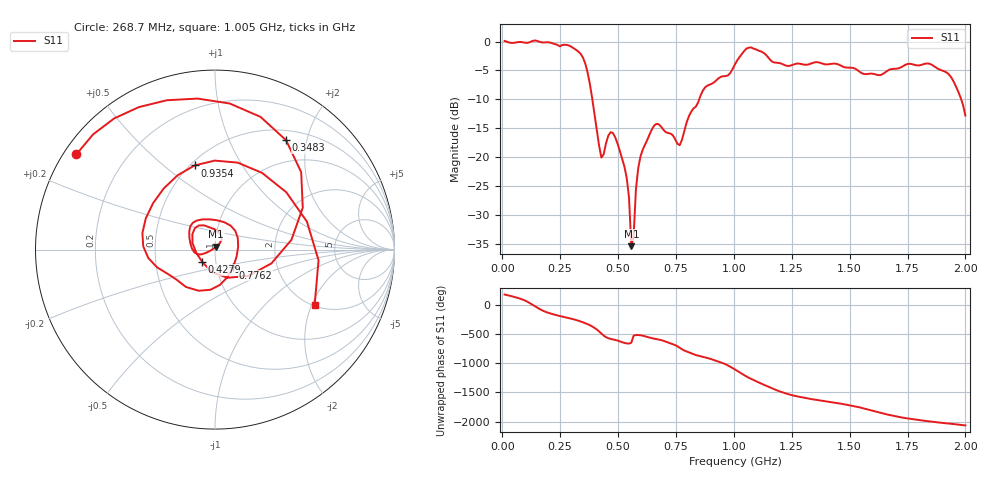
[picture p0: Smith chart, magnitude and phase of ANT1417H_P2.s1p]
!Created with skrf (http://scikit-rf.org).
# Hz S RI R 50.0
!freq ReS11 ImS11
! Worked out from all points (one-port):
!   201 points, 10 MHz to 2 GHz, reference 50 ohm
!   lowest |S11| = -35.4 dB at 557.2 MHz (marker M1), VSWR 1.03, Z = 50.6 + j1.59 ohm
!   |S11| at or under -10 dB: 388.8 MHz to 850.6 MHz (461.8 MHz wide, 74.5 % of centre); 1.982 GHz to end of sweep
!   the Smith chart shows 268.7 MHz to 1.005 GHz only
!   S11 on the Smith chart (normalised r, x): 268.7 MHz: 0.04, +0.31; 348.3 MHz: 0.64, +1.66; 427.9 MHz: 0.86, -0.12; 776.1 MHz: 1.20, -0.24; 935.4 MHz: 0.53, +0.64; 1.005 GHz: 2.04, -2.11
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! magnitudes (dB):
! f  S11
! 10 MHz  0.1
! 258.8 MHz  -0.6
! 268.7 MHz  -0.6
! 348.3 MHz  -2.8
! 378.1 MHz  -7.3
! 427.9 MHz  -20.1
! 467.7 MHz  -15.7
! 507.5 MHz  -18.9
! 537.4 MHz  -23.6
! 547.3 MHz  -27.0
! 557.2 MHz  -35.4
! 567.2 MHz  -33.7
! 577.1 MHz  -25.6
! 587.1 MHz  -21.9
! 607 MHz  -18.7
! 666.7 MHz  -14.2
! 756.2 MHz  -17.7
! 776.1 MHz  -17.0
! 865.7 MHz  -8.5
! 935.4 MHz  -6.3
! 1.005 GHz  -3.9
! 1.075 GHz  -1.0
! 1.254 GHz  -4.0
! 1.502 GHz  -4.5
! 1.632 GHz  -5.8
! 1.751 GHz  -3.9
! 1.92 GHz  -5.4
! 2 GHz  -12.8
